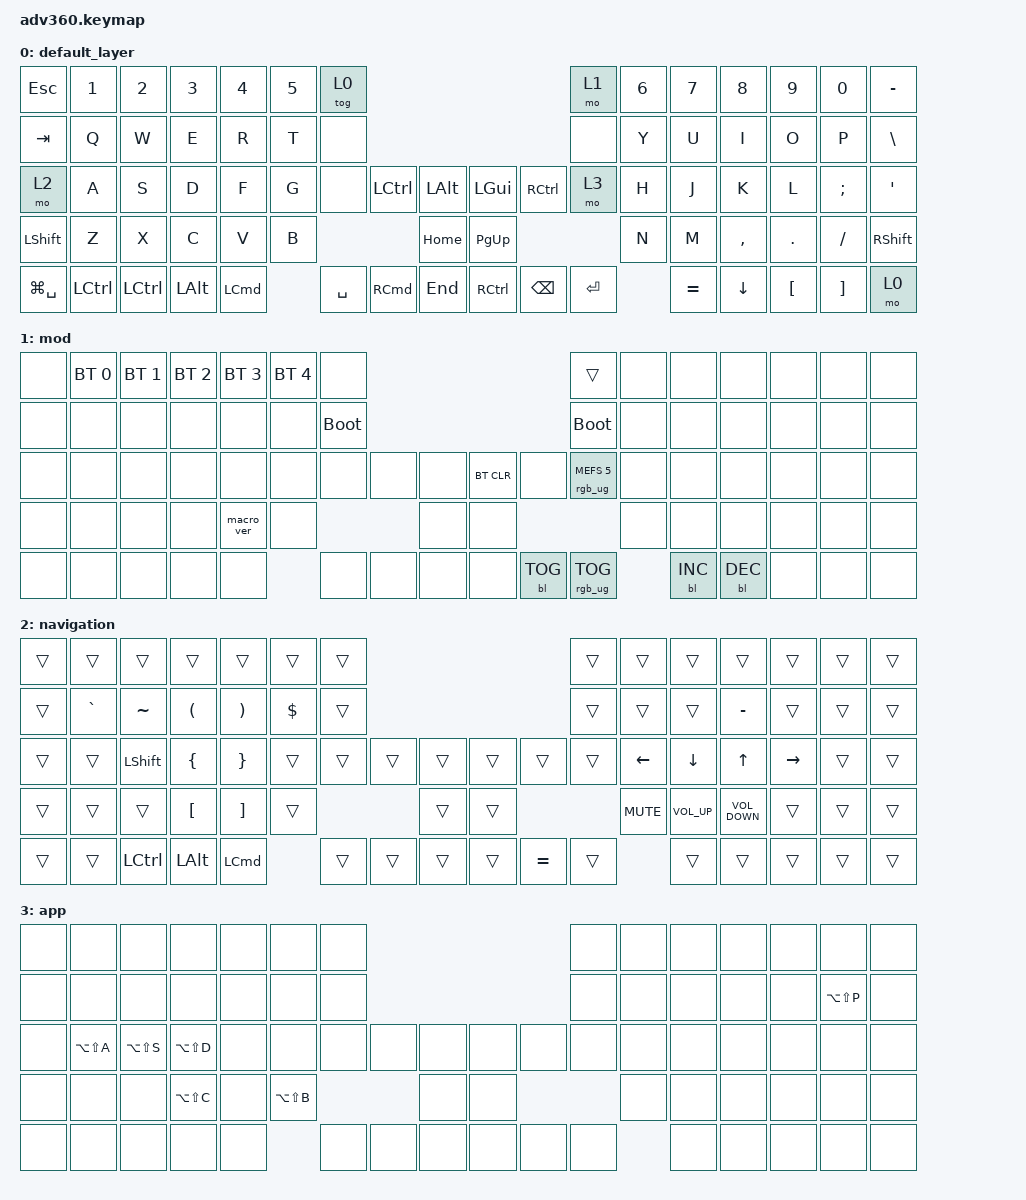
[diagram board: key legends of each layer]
#include <behaviors.dtsi>
#include <dt-bindings/zmk/backlight.h>
#include <dt-bindings/zmk/bt.h>
#include <dt-bindings/zmk/keys.h>
#include <dt-bindings/zmk/rgb.h>

/ {
    behaviors {
        #include "macros.dtsi"
      #include "version.dtsi"
      #ifndef VERSION_MACRO

        macro_ver: macro_ver {
            compatible = "zmk,behavior-macro";
            label = "macro_version";
            #binding-cells = <0>;
            bindings = <&kp RET>;
        };

        #endif

        hm: homerow_mods {
            compatible = "zmk,behavior-hold-tap";
            label = "HOMEROW_MODS";
            #binding-cells = <2>;
            tapping-term-ms = <200>;
            quick_tap_ms = <175>;
            flavor = "tap-preferred";
            bindings = <&kp>, <&kp>;
        };
    };

    macros {
    };

    keymap {
        compatible = "zmk,keymap";

        default_layer {
            bindings = <
&kp ESCAPE     &kp N1            &kp N2            &kp N3        &kp N4            &kp N5  &tog 0                                                                        &mo 1      &kp N6  &kp N7     &kp N8     &kp N9    &kp N0    &kp MINUS
&kp TAB        &kp Q             &kp W             &kp E         &kp R             &kp T   &none                                                                         &none      &kp Y   &kp U      &kp I      &kp O     &kp P     &kp BSLH
&mo 2          &kp A             &kp S             &kp D         &kp F             &kp G   &none      &kp LCTRL          &kp LALT      &kp LGUI           &kp RCTRL      &mo 3      &kp H   &kp J      &kp K      &kp L     &kp SEMI  &kp SQT
&kp LSHFT      &kp Z             &kp X             &kp C         &kp V             &kp B                                 &kp HOME      &kp PG_UP                                    &kp N   &kp M      &kp COMMA  &kp DOT   &kp FSLH  &kp RSHFT
&kp LG(SPACE)  &kp LEFT_CONTROL  &kp LEFT_CONTROL  &kp LEFT_ALT  &kp LEFT_COMMAND          &kp SPACE  &kp RIGHT_COMMAND  &kp END       &kp RIGHT_CONTROL  &kp BACKSPACE  &kp ENTER          &kp EQUAL  &kp DOWN   &kp LBKT  &kp RBKT  &mo 0
            >;
        };

        mod {
            bindings = <
&none  &bt BT_SEL 0  &bt BT_SEL 1  &bt BT_SEL 2  &bt BT_SEL 3  &bt BT_SEL 4  &none                                                  &trans                  &none  &none       &none       &none  &none  &none
&none  &none         &none         &none         &none         &none         &bootloader                                            &bootloader             &none  &none       &none       &none  &none  &none
&none  &none         &none         &none         &none         &none         &none        &none  &none      &bt BT_CLR  &none       &rgb_ug RGB_MEFS_CMD 5  &none  &none       &none       &none  &none  &none
&none  &none         &none         &none         &macro_ver    &none                             &none      &none                                           &none  &none       &none       &none  &none  &none
&none  &none         &none         &none         &none                       &none        &none  &none      &none       &bl BL_TOG  &rgb_ug RGB_TOG                &bl BL_INC  &bl BL_DEC  &none  &none  &none
            >;
        };

        navigation {
            bindings = <
&trans  &trans     &trans            &trans                &trans                 &trans      &trans                                         &trans  &trans      &trans           &trans             &trans     &trans  &trans
&trans  &kp GRAVE  &kp TILDE         &kp LEFT_PARENTHESIS  &kp RIGHT_PARENTHESIS  &kp DOLLAR  &trans                                         &trans  &trans      &trans           &kp MINUS          &trans     &trans  &trans
&trans  &trans     &kp LEFT_SHIFT    &kp LEFT_BRACE        &kp RIGHT_BRACE        &trans      &trans  &trans  &trans      &trans  &trans     &trans  &kp LEFT    &kp DOWN         &kp UP             &kp RIGHT  &trans  &trans
&trans  &trans     &trans            &kp LEFT_BRACKET      &kp RIGHT_BRACKET      &trans                      &trans      &trans                     &kp K_MUTE  &kp C_VOLUME_UP  &kp C_VOLUME_DOWN  &trans     &trans  &trans
&trans  &trans     &kp LEFT_CONTROL  &kp LEFT_ALT          &kp LEFT_COMMAND                   &trans  &trans  &trans      &trans  &kp EQUAL  &trans              &trans           &trans             &trans     &trans  &trans
            >;
        };

        app {
            bindings = <
&none  &none          &none          &none          &none  &none          &none                                  &none  &none  &none  &none  &none  &none          &none
&none  &none          &none          &none          &none  &none          &none                                  &none  &none  &none  &none  &none  &kp LA(LS(P))  &none
&none  &kp LA(LS(A))  &kp LA(LS(S))  &kp LA(LS(D))  &none  &none          &none  &none  &none      &none  &none  &none  &none  &none  &none  &none  &none          &none
&none  &none          &none          &kp LA(LS(C))  &none  &kp LA(LS(B))                &none      &none                &none  &none  &none  &none  &none          &none
&none  &none          &none          &none          &none                 &none  &none  &none      &none  &none  &none         &none  &none  &none  &none          &none
            >;
        };
    };
};
